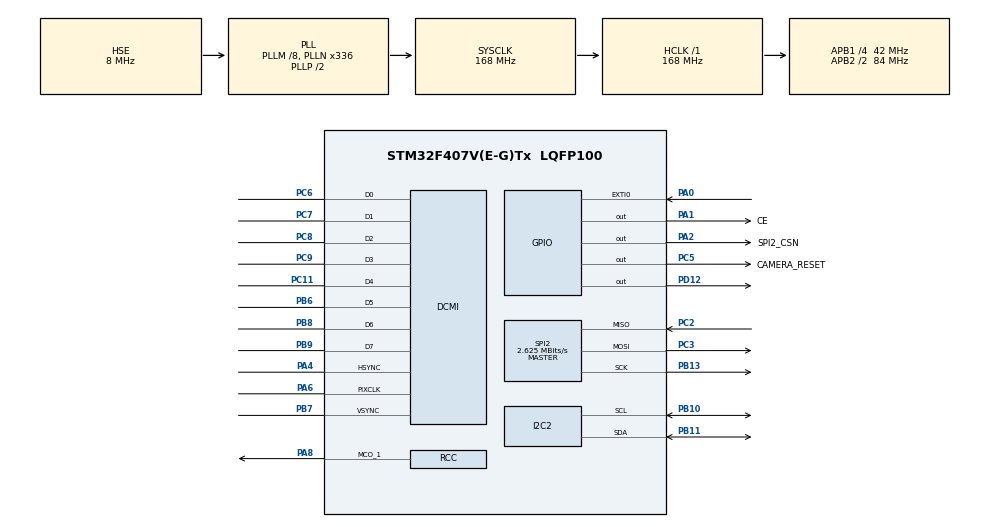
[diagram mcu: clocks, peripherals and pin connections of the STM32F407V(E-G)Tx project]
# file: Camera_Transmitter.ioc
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DCMI.PCKPolarity=DCMI_PCKPOLARITY_RISING
DCMI.VSPolarity=DCMI_VSPOLARITY_HIGH
Dma.DCMI.0.Direction=DMA_PERIPH_TO_MEMORY
Dma.DCMI.0.FIFOMode=DMA_FIFOMODE_DISABLE
Dma.DCMI.0.Instance=DMA2_Stream1
Dma.DCMI.0.MemDataAlignment=DMA_MDATAALIGN_WORD
Dma.DCMI.0.MemInc=DMA_MINC_ENABLE
Dma.DCMI.0.Mode=DMA_NORMAL
Dma.DCMI.0.PeriphDataAlignment=DMA_PDATAALIGN_WORD
Dma.DCMI.0.PeriphInc=DMA_PINC_DISABLE
Dma.DCMI.0.Priority=DMA_PRIORITY_LOW
Dma.Request0=DCMI
Mcu.Family=STM32F4
Mcu.Name=STM32F407V(E-G)Tx
Mcu.Package=LQFP100
NVIC.DCMI_IRQn=true\:0\:2\:false\:false\:true\:true\:true\:true
NVIC.DMA2_Stream1_IRQn=true\:0\:0\:false\:false\:true\:false\:true\:true
NVIC.EXTI0_IRQn=true\:0\:0\:false\:false\:true\:true\:true\:true
NVIC.PriorityGroup=NVIC_PRIORITYGROUP_0
PA0-WKUP.GPIO_ModeDefaultEXTI=GPIO_MODE_IT_FALLING
PA0-WKUP.Signal=GPXTI0
PA1.GPIO_Label=CE
PA1.GPIO_Speed=GPIO_SPEED_FREQ_HIGH
PA1.Signal=GPIO_Output
PA2.GPIO_Label=SPI2_CSN
PA2.GPIO_Speed=GPIO_SPEED_FREQ_HIGH
PA2.PinState=GPIO_PIN_SET
PA2.Signal=GPIO_Output
PA4.GPIO_PuPd=GPIO_PULLDOWN
PA4.GPIO_Speed=GPIO_SPEED_FREQ_VERY_HIGH
PA4.Mode=Slave_8_bits_External_Synchro
PA4.Signal=DCMI_HSYNC
PA6.GPIO_PuPd=GPIO_PULLDOWN
PA6.GPIO_Speed=GPIO_SPEED_FREQ_VERY_HIGH
PA6.Mode=Slave_8_bits_External_Synchro
PA6.Signal=DCMI_PIXCLK
PA8.GPIO_Speed=GPIO_SPEED_FREQ_VERY_HIGH
PA8.Mode=Clock-out-1
PA8.Signal=RCC_MCO_1
PB10.GPIO_Pu=GPIO_PULLUP
PB10.Mode=I2C
PB10.Signal=I2C2_SCL
PB11.GPIO_Pu=GPIO_PULLUP
PB11.Mode=I2C
PB11.Signal=I2C2_SDA
PB13.Mode=Full_Duplex_Master
PB13.Signal=SPI2_SCK
PB6.GPIO_PuPd=GPIO_PULLDOWN
PB6.GPIO_Speed=GPIO_SPEED_FREQ_VERY_HIGH
PB6.Mode=Slave_8_bits_External_Synchro
PB6.Signal=DCMI_D5
PB7.GPIO_PuPd=GPIO_PULLDOWN
PB7.GPIO_Speed=GPIO_SPEED_FREQ_VERY_HIGH
PB7.Mode=Slave_8_bits_External_Synchro
PB7.Signal=DCMI_VSYNC
PB8.GPIO_PuPd=GPIO_PULLDOWN
PB8.GPIO_Speed=GPIO_SPEED_FREQ_VERY_HIGH
PB8.Mode=Slave_8_bits_External_Synchro
PB8.Signal=DCMI_D6
PB9.GPIO_PuPd=GPIO_PULLDOWN
PB9.GPIO_Speed=GPIO_SPEED_FREQ_VERY_HIGH
PB9.Mode=Slave_8_bits_External_Synchro
PB9.Signal=DCMI_D7
PC11.GPIO_PuPd=GPIO_PULLDOWN
PC11.GPIO_Speed=GPIO_SPEED_FREQ_VERY_HIGH
PC11.Mode=Slave_8_bits_External_Synchro
PC11.Signal=DCMI_D4
PC2.Mode=Full_Duplex_Master
PC2.Signal=SPI2_MISO
PC3.Mode=Full_Duplex_Master
PC3.Signal=SPI2_MOSI
PC5.GPIO_Label=CAMERA_RESET
PC5.GPIO_PuPd=GPIO_PULLUP
PC5.Signal=GPIO_Output
PC6.GPIO_PuPd=GPIO_PULLDOWN
PC6.GPIO_Speed=GPIO_SPEED_FREQ_VERY_HIGH
PC6.Mode=Slave_8_bits_External_Synchro
PC6.Signal=DCMI_D0
PC7.GPIO_PuPd=GPIO_PULLDOWN
PC7.GPIO_Speed=GPIO_SPEED_FREQ_VERY_HIGH
PC7.Mode=Slave_8_bits_External_Synchro
PC7.Signal=DCMI_D1
PC8.GPIO_PuPd=GPIO_PULLDOWN
PC8.GPIO_Speed=GPIO_SPEED_FREQ_VERY_HIGH
PC8.Mode=Slave_8_bits_External_Synchro
PC8.Signal=DCMI_D2
PC9.GPIO_PuPd=GPIO_PULLDOWN
PC9.GPIO_Speed=GPIO_SPEED_FREQ_VERY_HIGH
PC9.Mode=Slave_8_bits_External_Synchro
PC9.Signal=DCMI_D3
PD12.Signal=GPIO_Output
PH0-OSC_IN.Mode=HSE-External-Oscillator
PH0-OSC_IN.Signal=RCC_OSC_IN
PH1-OSC_OUT.Mode=HSE-External-Oscillator
PH1-OSC_OUT.Signal=RCC_OSC_OUT
ProjectManager.HeapSize=0x200
ProjectManager.StackSize=0x400
ProjectManager.TargetToolchain=STM32CubeIDE
RCC.48MHZClocksFreq_Value=48000000
RCC.AHBFreq_Value=168000000
RCC.APB1CLKDivider=RCC_HCLK_DIV4
RCC.APB1Freq_Value=42000000
RCC.APB1TimFreq_Value=84000000
RCC.APB2CLKDivider=RCC_HCLK_DIV2
RCC.APB2Freq_Value=84000000
RCC.APB2TimFreq_Value=168000000
RCC.CortexFreq_Value=168000000
RCC.HCLKFreq_Value=168000000
RCC.HSE_VALUE=8000000
RCC.HSI_VALUE=16000000
RCC.LSE_VALUE=32768
RCC.PLLM=8
RCC.PLLN=336
RCC.PLLQ=7
RCC.PLLSourceVirtual=RCC_PLLSOURCE_HSE
RCC.RCC_MCO1Source=RCC_MCO1SOURCE_PLLCLK
RCC.RCC_MCODiv1=RCC_MCODIV_4
RCC.SYSCLKFreq_VALUE=168000000
RCC.SYSCLKSource=RCC_SYSCLKSOURCE_PLLCLK
RCC.VCOOutputFreq_Value=336000000
SPI2.BaudRatePrescaler=SPI_BAUDRATEPRESCALER_16
SPI2.CalculateBaudRate=2.625 MBits/s
SPI2.Direction=SPI_DIRECTION_2LINES
SPI2.Mode=SPI_MODE_MASTER
SPI2.VirtualType=VM_MASTER
board=STM32F407G-DISC1

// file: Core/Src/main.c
/* USER CODE BEGIN Header */
/**
  ******************************************************************************
  * @file           : main.c
  * @brief          : Main program body
  ******************************************************************************
  * @attention
  *
  * Copyright (c) 2024 STMicroelectronics.
  * All rights reserved.
  *
  * This software is licensed under terms that can be found in the LICENSE file
  * in the root directory of this software component.
  * If no LICENSE file comes with this software, it is provided AS-IS.
  *
  ******************************************************************************
  */
/* USER CODE END Header */
#include "main.h"

/* USER CODE BEGIN Includes */
#include <stdio.h>
#include <string.h>
#include "ov7670.h"
#include "MY_NRF24.h"
/* USER CODE END Includes */

DCMI_HandleTypeDef hdcmi;
DMA_HandleTypeDef hdma_dcmi;

I2C_HandleTypeDef hi2c2;

SPI_HandleTypeDef hspi2;

void SystemClock_Config(void);
static void MX_GPIO_Init(void);
static void MX_DMA_Init(void);
static void MX_DCMI_Init(void);
static void MX_I2C2_Init(void);
static void MX_SPI2_Init(void);

/* USER CODE BEGIN 0 */

uint32_t pixel_array[OV7670_CAP_WIDTH * OV7670_CAP_HEIGHT / 2];
volatile uint8_t  flag = 0;

uint64_t TxpipeAddrs = 0x11223344AA;
uint8_t myTxData[32] = {0};

//volatile int failedCounter = 0;
//volatile int succeedCounter = 0;
volatile int pixelCounter = 0;

volatile uint16_t newIndex = 0;

// 8576 kere çağırılmalı
void parseDcmiOutput(uint32_t *pixel, uint8_t *tx_parsed, uint16_t indexToSend)
{
	for(int i = 0; i < 8; i++)
	{
		// Even Iterations
		if((i == 0) && (indexToSend % 2 == 0))
		{
			tx_parsed[0]       = (uint8_t)((indexToSend & 0x00FF));
			tx_parsed[1] 	   = (uint8_t)((indexToSend & 0xFF00) >> 8);
			tx_parsed[2]       = (uint8_t)((pixel[i] & 0x000000FF));
			tx_parsed[3] 	   = (uint8_t)((pixel[i] & 0x0000FF00) >> 8);
		}
		else if((i != 0) && (indexToSend % 2 == 0))
		{
			tx_parsed[i*4]       = (uint8_t)((pixel[i - 1] & 0x00FF0000) >> 16);
			tx_parsed[(i*4) + 1] = (uint8_t)((pixel[i - 1] & 0xFF000000) >> 24);
			tx_parsed[(i*4) + 2] = (uint8_t)((pixel[i] & 0x000000FF));
			tx_parsed[(i*4) + 3] = (uint8_t)((pixel[i] & 0x0000FF00) >> 8);
		}

		// Odd Iterations
		// 1 = 8 --> 7 = 15
		if((i == 0) && (indexToSend % 2 == 1))
		{
			tx_parsed[0]       = (uint8_t)((indexToSend & 0x00FF));
			tx_parsed[1] 	   = (uint8_t)((indexToSend & 0xFF00) >> 8);
			tx_parsed[2]       = (uint8_t)((pixel[i] & 0x00FF0000) >> 16);
			tx_parsed[3] 	   = (uint8_t)((pixel[i] & 0xFF000000) >> 24);
		}
		else if((i != 0) && (indexToSend % 2 == 1))
		{
			tx_parsed[i*4]       = (uint8_t)((pixel[i] & 0x000000FF));
			tx_parsed[(i*4) + 1] = (uint8_t)((pixel[i] & 0x0000FF00) >> 8);
			tx_parsed[(i*4) + 2] = (uint8_t)((pixel[i] & 0x00FF0000) >> 16);
			tx_parsed[(i*4) + 3] = (uint8_t)((pixel[i] & 0xFF000000) >> 24);
		}

	}
}

/* USER CODE END 0 */

int main(void)
{

  /* MCU Configuration--------------------------------------------------------*/

  /* Reset of all peripherals, Initializes the Flash interface and the Systick. */
  HAL_Init();

  /* Configure the system clock */
  SystemClock_Config();

  /* Initialize all configured peripherals */
  MX_GPIO_Init();
  MX_DMA_Init();
  MX_DCMI_Init();
  MX_I2C2_Init();
  MX_SPI2_Init();
  /* USER CODE BEGIN 2 */

  OV7670_Init(&hdcmi, &hi2c2);
  OV7670_UploadSettings();

  NRF24_begin(GPIOA, GPIO_PIN_2, GPIO_PIN_1, hspi2);
  NRF24_stopListening();
  NRF24_openWritingPipe(TxpipeAddrs);
  NRF24_setAutoAck(true);
  NRF24_setChannel(52);
  NRF24_setPayloadSize(32);

  OV7670_StartCap(OV7670_CAP_SINGLE_FRAME, pixel_array);
  HAL_Delay(100);
  HAL_GPIO_TogglePin(GPIOD, GPIO_PIN_12);

  parseDcmiOutput(pixel_array, myTxData, newIndex++);

  /* USER CODE END 2 */

  /* Infinite loop */
  while (1)
  {

    /* USER CODE BEGIN 3 */

	  if(NRF24_write(myTxData, 32))
	  {
		  printf("Transmitted Successfully\r\n");

		  if(newIndex != 4000)	// End Of pixel_array
		  {
			  // Sends pixel array index 7 - 16 - 23 - 32 - 39 .....
			  parseDcmiOutput(&pixel_array[(newIndex * 8) - (newIndex % 2)], myTxData, newIndex++);
		  }
		  else
		  {
			  myTxData[0] = (uint8_t)((pixel_array[(OV7670_CAP_WIDTH * OV7670_CAP_HEIGHT / 2) - 1] & 0x000000FF));
			  myTxData[1] = (uint8_t)((pixel_array[(OV7670_CAP_WIDTH * OV7670_CAP_HEIGHT / 2) - 1] & 0x0000FF00) >> 8);
			  myTxData[2] = (uint8_t)((pixel_array[(OV7670_CAP_WIDTH * OV7670_CAP_HEIGHT / 2) - 1] & 0x00FF0000) >> 16);
			  myTxData[3] = (uint8_t)((pixel_array[(OV7670_CAP_WIDTH * OV7670_CAP_HEIGHT / 2) - 1] & 0xFF000000) >> 24);
			  if(NRF24_write(myTxData, 32))
			  {
				  break;
			  }
		  }

	  }

	  else
	  {
//		  ++failedCounter;
	  }

  }
  /* USER CODE END 3 */
}

void SystemClock_Config(void)
{
  RCC_OscInitTypeDef RCC_OscInitStruct = {0};
  RCC_ClkInitTypeDef RCC_ClkInitStruct = {0};

  /** Configure the main internal regulator output voltage
  */
  __HAL_RCC_PWR_CLK_ENABLE();
  __HAL_PWR_VOLTAGESCALING_CONFIG(PWR_REGULATOR_VOLTAGE_SCALE1);

  /** Initializes the RCC Oscillators according to the specified parameters
  * in the RCC_OscInitTypeDef structure.
  */
  RCC_OscInitStruct.OscillatorType = RCC_OSCILLATORTYPE_HSE;
  RCC_OscInitStruct.HSEState = RCC_HSE_ON;
  RCC_OscInitStruct.PLL.PLLState = RCC_PLL_ON;
  RCC_OscInitStruct.PLL.PLLSource = RCC_PLLSOURCE_HSE;
  RCC_OscInitStruct.PLL.PLLM = 8;
  RCC_OscInitStruct.PLL.PLLN = 336;
  RCC_OscInitStruct.PLL.PLLP = RCC_PLLP_DIV2;
  RCC_OscInitStruct.PLL.PLLQ = 7;
  if (HAL_RCC_OscConfig(&RCC_OscInitStruct) != HAL_OK)
  {
    Error_Handler();
  }

  /** Initializes the CPU, AHB and APB buses clocks
  */
  RCC_ClkInitStruct.ClockType = RCC_CLOCKTYPE_HCLK|RCC_CLOCKTYPE_SYSCLK
                              |RCC_CLOCKTYPE_PCLK1|RCC_CLOCKTYPE_PCLK2;
  RCC_ClkInitStruct.SYSCLKSource = RCC_SYSCLKSOURCE_PLLCLK;
  RCC_ClkInitStruct.AHBCLKDivider = RCC_SYSCLK_DIV1;
  RCC_ClkInitStruct.APB1CLKDivider = RCC_HCLK_DIV4;
  RCC_ClkInitStruct.APB2CLKDivider = RCC_HCLK_DIV2;

  if (HAL_RCC_ClockConfig(&RCC_ClkInitStruct, FLASH_LATENCY_5) != HAL_OK)
  {
    Error_Handler();
  }
  HAL_RCC_MCOConfig(RCC_MCO1, RCC_MCO1SOURCE_PLLCLK, RCC_MCODIV_4);
}

static void MX_DCMI_Init(void)
{

  hdcmi.Instance = DCMI;
  hdcmi.Init.SynchroMode = DCMI_SYNCHRO_HARDWARE;
  hdcmi.Init.PCKPolarity = DCMI_PCKPOLARITY_RISING;
  hdcmi.Init.VSPolarity = DCMI_VSPOLARITY_HIGH;
  hdcmi.Init.HSPolarity = DCMI_HSPOLARITY_LOW;
  hdcmi.Init.CaptureRate = DCMI_CR_ALL_FRAME;
  hdcmi.Init.ExtendedDataMode = DCMI_EXTEND_DATA_8B;
  hdcmi.Init.JPEGMode = DCMI_JPEG_DISABLE;
  if (HAL_DCMI_Init(&hdcmi) != HAL_OK)
  {
    Error_Handler();
  }

}

static void MX_I2C2_Init(void)
{

  hi2c2.Instance = I2C2;
  hi2c2.Init.ClockSpeed = 100000;
  hi2c2.Init.DutyCycle = I2C_DUTYCYCLE_2;
  hi2c2.Init.OwnAddress1 = 0;
  hi2c2.Init.AddressingMode = I2C_ADDRESSINGMODE_7BIT;
  hi2c2.Init.DualAddressMode = I2C_DUALADDRESS_DISABLE;
  hi2c2.Init.OwnAddress2 = 0;
  hi2c2.Init.GeneralCallMode = I2C_GENERALCALL_DISABLE;
  hi2c2.Init.NoStretchMode = I2C_NOSTRETCH_DISABLE;
  if (HAL_I2C_Init(&hi2c2) != HAL_OK)
  {
    Error_Handler();
  }

}

static void MX_SPI2_Init(void)
{

  /* SPI2 parameter configuration*/
  hspi2.Instance = SPI2;
  hspi2.Init.Mode = SPI_MODE_MASTER;
  hspi2.Init.Direction = SPI_DIRECTION_2LINES;
  hspi2.Init.DataSize = SPI_DATASIZE_8BIT;
  hspi2.Init.CLKPolarity = SPI_POLARITY_LOW;
  hspi2.Init.CLKPhase = SPI_PHASE_1EDGE;
  hspi2.Init.NSS = SPI_NSS_SOFT;
  hspi2.Init.BaudRatePrescaler = SPI_BAUDRATEPRESCALER_16;
  hspi2.Init.FirstBit = SPI_FIRSTBIT_MSB;
  hspi2.Init.TIMode = SPI_TIMODE_DISABLE;
  hspi2.Init.CRCCalculation = SPI_CRCCALCULATION_DISABLE;
  hspi2.Init.CRCPolynomial = 10;
  if (HAL_SPI_Init(&hspi2) != HAL_OK)
  {
    Error_Handler();
  }

}

static void MX_DMA_Init(void)
{

  /* DMA controller clock enable */
  __HAL_RCC_DMA2_CLK_ENABLE();

  /* DMA interrupt init */
  /* DMA2_Stream1_IRQn interrupt configuration */
  HAL_NVIC_SetPriority(DMA2_Stream1_IRQn, 0, 0);
  HAL_NVIC_EnableIRQ(DMA2_Stream1_IRQn);

}

static void MX_GPIO_Init(void)
{
  GPIO_InitTypeDef GPIO_InitStruct = {0};

  /* GPIO Ports Clock Enable */
  __HAL_RCC_GPIOH_CLK_ENABLE();
  __HAL_RCC_GPIOC_CLK_ENABLE();
  __HAL_RCC_GPIOA_CLK_ENABLE();
  __HAL_RCC_GPIOB_CLK_ENABLE();
  __HAL_RCC_GPIOD_CLK_ENABLE();

  /*Configure GPIO pin Output Level */
  HAL_GPIO_WritePin(CE_GPIO_Port, CE_Pin, GPIO_PIN_RESET);

  /*Configure GPIO pin Output Level */
  HAL_GPIO_WritePin(SPI2_CSN_GPIO_Port, SPI2_CSN_Pin, GPIO_PIN_SET);

  /*Configure GPIO pin Output Level */
  HAL_GPIO_WritePin(CAMERA_RESET_GPIO_Port, CAMERA_RESET_Pin, GPIO_PIN_RESET);

  /*Configure GPIO pin Output Level */
  HAL_GPIO_WritePin(GPIOD, GPIO_PIN_12, GPIO_PIN_RESET);

  /*Configure GPIO pin : PA0 */
  GPIO_InitStruct.Pin = GPIO_PIN_0;
  GPIO_InitStruct.Mode = GPIO_MODE_IT_FALLING;
  GPIO_InitStruct.Pull = GPIO_NOPULL;
  HAL_GPIO_Init(GPIOA, &GPIO_InitStruct);

  /*Configure GPIO pins : CE_Pin SPI2_CSN_Pin */
  GPIO_InitStruct.Pin = CE_Pin|SPI2_CSN_Pin;
  GPIO_InitStruct.Mode = GPIO_MODE_OUTPUT_PP;
  GPIO_InitStruct.Pull = GPIO_NOPULL;
  GPIO_InitStruct.Speed = GPIO_SPEED_FREQ_HIGH;
  HAL_GPIO_Init(GPIOA, &GPIO_InitStruct);

  /*Configure GPIO pin : CAMERA_RESET_Pin */
  GPIO_InitStruct.Pin = CAMERA_RESET_Pin;
  GPIO_InitStruct.Mode = GPIO_MODE_OUTPUT_PP;
  GPIO_InitStruct.Pull = GPIO_PULLUP;
  GPIO_InitStruct.Speed = GPIO_SPEED_FREQ_LOW;
  HAL_GPIO_Init(CAMERA_RESET_GPIO_Port, &GPIO_InitStruct);

  /*Configure GPIO pin : PD12 */
  GPIO_InitStruct.Pin = GPIO_PIN_12;
  GPIO_InitStruct.Mode = GPIO_MODE_OUTPUT_PP;
  GPIO_InitStruct.Pull = GPIO_NOPULL;
  GPIO_InitStruct.Speed = GPIO_SPEED_FREQ_LOW;
  HAL_GPIO_Init(GPIOD, &GPIO_InitStruct);

  /*Configure GPIO pin : PA8 */
  GPIO_InitStruct.Pin = GPIO_PIN_8;
  GPIO_InitStruct.Mode = GPIO_MODE_AF_PP;
  GPIO_InitStruct.Pull = GPIO_NOPULL;
  GPIO_InitStruct.Speed = GPIO_SPEED_FREQ_VERY_HIGH;
  GPIO_InitStruct.Alternate = GPIO_AF0_MCO;
  HAL_GPIO_Init(GPIOA, &GPIO_InitStruct);

  /* EXTI interrupt init*/
  HAL_NVIC_SetPriority(EXTI0_IRQn, 0, 0);
  HAL_NVIC_EnableIRQ(EXTI0_IRQn);

}

void Error_Handler(void)
{
  __disable_irq();
  while (1)
  {
  }
}
